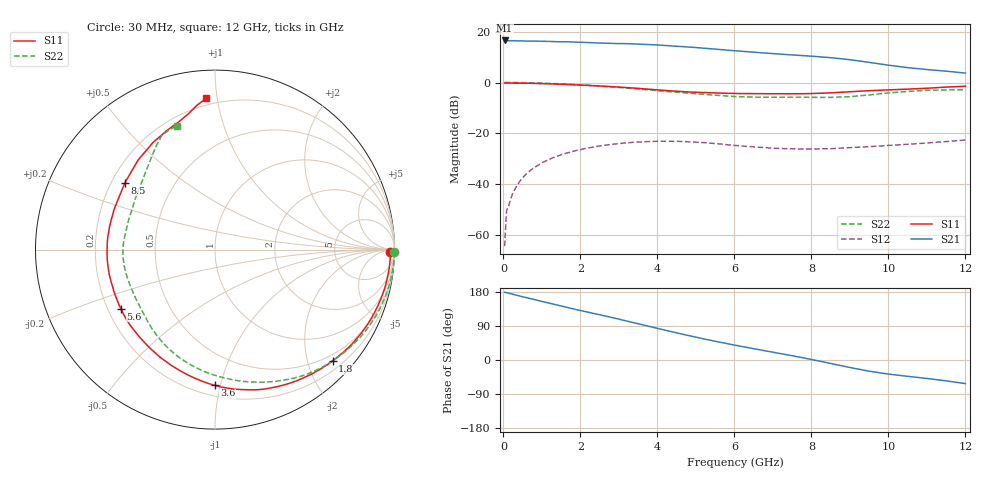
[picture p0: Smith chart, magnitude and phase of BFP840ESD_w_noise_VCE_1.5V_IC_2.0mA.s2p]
! Infineon Technologies  Discrete & RF Semiconductors
! BFP840ESD
! VCE =  1.5 V,  IC =  2.0 mA
! Common Emitter S-Parameters:  May 2012
# GHz  S  MA  R  50
!  f  S11  S21  S12  S22
! GHz  MAG  ANG  MAG  ANG  MAG  ANG  MAG  ANG
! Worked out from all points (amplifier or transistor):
!   93 points, 30 MHz to 12 GHz, reference 50 ohm
!   highest |S21| = 16.6 dB at 30 MHz (marker M1)
!   |S21| within 3 dB of that: start of sweep to 5.167 GHz
!   unconditionally stable (mu >= 1): 6.868 GHz to 10.82 GHz
!   at 1.1 GHz: K = 0.11, MSG = 23.6 dB, |S12| = -30.9 dB
!   at 4.2 GHz: K = 0.38, MSG = 18.8 dB, |S12| = -23.1 dB
!   at 12 GHz: K = 0.67, MSG = 13.2 dB, |S12| = -22.6 dB
!   lowest NFmin = 0.41 dB at 450 MHz
!   S11 on the Smith chart (normalised r, x): 30 MHz: 68, -36; 1.8 GHz: 0.37, -2.47; 3.6 GHz: 0.27, -0.96; 5.6 GHz: 0.25, -0.27; 8.5 GHz: 0.25, +0.31; 12 GHz: 0.16, +0.93
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0.03  0.9774 -0.7  6.725 178.6  0.0006 74.0  0.9995 -0.7
0.08  0.9775 -1.9  6.62 177.5  0.003 91.8  0.9984 -1.8
0.23  0.9765 -5.5  6.633 173.9  0.0063 83.4  0.9972 -5.2
0.43  0.9721 -10.3  6.579 168.6  0.0115 80.9  0.9931 -9.6
1  0.9508 -24.0  6.487 154.6  0.0262 68.5  0.9694 -22.3
1.8  0.9025 -43.4  6.272 135.3  0.044 52.5  0.9142 -40.2
2.1  0.8816 -50.7  6.159 128.4  0.0499 46.7  0.889 -46.9
3.1  0.8032 -76.5  5.85 105.2  0.0639 28.1  0.7869 -69.8
3.6  0.7559 -90.2  5.66 93.2  0.0681 18.9  0.7318 -82.3
4.1  0.706 -104.8  5.414 81.1  0.0699 10.3  0.6808 -95.2
4.5  0.674 -116.7  5.17 71.6  0.0696 3.8  0.6435 -105.5
4.9  0.647 -128.6  4.943 62.5  0.0676 -1.9  0.6088 -115.1
5.6  0.6197 -147.9  4.479 47.4  0.0619 -9.5  0.5555 -130.8
6.1  0.6066 -160.0  4.176 37.5  0.057 -11.8  0.527 -142.1
6.5  0.6039 -169.3  3.959 29.8  0.0542 -12.5  0.5159 -151.5
7.3  0.6015 172.9  3.571 15.0  0.0499 -11.1  0.5138 -169.6
8  0.606 156.2  3.299 1.3  0.0492 -8.0  0.5106 174.1
8.5  0.6251 143.3  3.081 -9.1  0.0498 -5.7  0.5088 161.3
9  0.6576 130.7  2.812 -19.8  0.0522 -4.2  0.5275 147.0
9.5  0.6897 120.0  2.49 -29.5  0.0546 -3.8  0.5685 134.1
10.5  0.7399 105.8  1.963 -43.1  0.0608 -4.3  0.6669 119.2
12  0.8433 93.3  1.534 -62.3  0.0738 -7.8  0.7211 106.9
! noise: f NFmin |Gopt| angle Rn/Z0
0.45  0.41  0.76  3  0.37
0.9  0.41  0.76  9  0.33
1.5  0.48  0.75  21  0.28
1.9  0.54  0.74  24  0.26
2.4  0.6  0.68  35  0.23
3.5  0.67  0.55  60  0.18
5.5  0.89  0.38  116  0.13
8  1.18  0.5  -152  0.06
10  1.44  0.57  -112  0.17
12  1.75  0.61  -87  0.3
